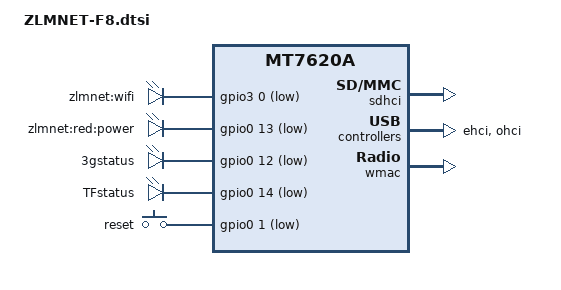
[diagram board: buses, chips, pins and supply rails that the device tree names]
#include "mt7620a.dtsi"

#include <dt-bindings/gpio/gpio.h>
#include <dt-bindings/input/input.h>

/ {
	compatible = "zlmnet,zlmnet-f8", "ralink,mt7620a-soc";

	chosen {
		bootargs = "console=ttyS0,57600";
	};

	gpio-leds {
		compatible = "gpio-leds";
		wlan {
                        label = "zlmnet:wifi";
                        gpios = <&gpio3 0 1>;
                };
                power {
                        label = "zlmnet:red:power";
                        gpios = <&gpio0 13 1>;
                };
                3gstatus {
                        lable = "zlmnet:blue:3gstatus";
                        gpios = <&gpio0 12 1>;
                };
                TFstatus {
                            lable = "zlmnet:blue:TFstatus";
                            gpios = <&gpio0 14 1>;
                };

	};

	gpio-keys-polled {
		compatible = "gpio-keys-polled";
		#address-cells = <1>;
		#size-cells = <0>;
		poll-interval = <20>;
		reset {
			label = "reset";
			gpios = <&gpio0 1 GPIO_ACTIVE_LOW>;
			linux,code = <KEY_RESTART>;
		};
	};
};

&gpio0 {
	status = "okay";
};

&gpio1 {
	status = "okay";
};

&gpio3 {
	status = "okay";
};

&sdhci {
	status = "okay";
};

&ehci {
	status = "okay";
};

&ohci {
	status = "okay";
};

&ethernet {
	mtd-mac-address = <&factory 0x4>;
	mediatek,portmap = "llllw";
};

&wmac {
	ralink,mtd-eeprom = <&factory 0>;
};

&pinctrl {
	state_default: pinctrl0 {
		default {
			ralink,group = "i2c", "uartf", "wled", "nd_sd";
			ralink,function = "gpio";
		};
	};
};

&pcie {
	status = "disabled";
};


